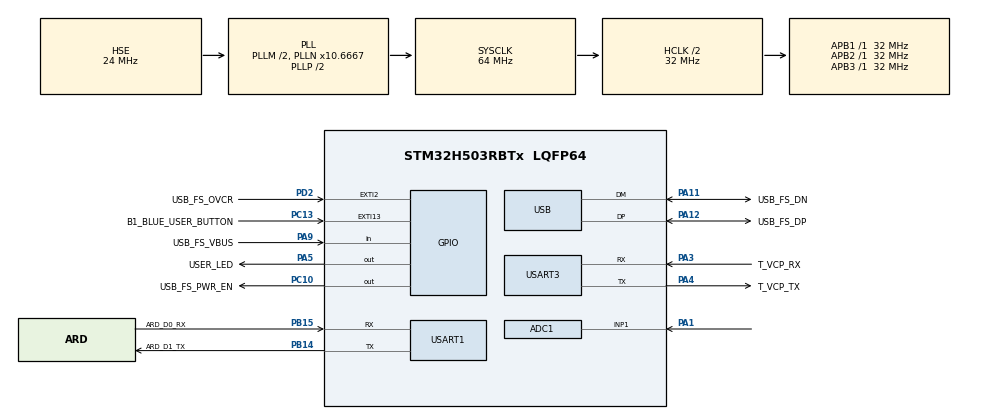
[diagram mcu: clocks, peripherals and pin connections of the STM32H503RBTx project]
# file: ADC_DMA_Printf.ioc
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ADC1.Channel-0\#ChannelRegularConversion=ADC_CHANNEL_1
ADC1.ContinuousConvMode=ENABLE
ADC1.DMAContinuousRequests=ENABLE
ADC1.MonitoredBy-0\#ChannelRegularConversion=__NULL
ADC1.NbrOfConversionFlag=1
ADC1.OffsetNumber-0\#ChannelRegularConversion=ADC_OFFSET_NONE
ADC1.OversamplingMode=ENABLE
ADC1.Rank-0\#ChannelRegularConversion=1
ADC1.Ratio=ADC_OVERSAMPLING_RATIO_256
ADC1.RightBitShift=ADC_RIGHTBITSHIFT_8
ADC1.SamplingTime-0\#ChannelRegularConversion=ADC_SAMPLETIME_2CYCLES_5
ADC1.master=1
BOOTPATH.BootPathName=LEGACY
BOOTPATH.UserSelectedBootPath=LEGACY
GPDMA1.CIRCULARMODE_GPDMACH0=ENABLE
GPDMA1.DATAEXCHANGEDESRCBYTE_GPDMACH0=NONE
GPDMA1.DATAEXCHANGEDESTHALFWORD_GPDMACH0=NONE
GPDMA1.DATAHANDLING_GPDMACH0=NONE
GPDMA1.DESTDATAWIDTH_GPDMACH0=DMA_DEST_DATAWIDTH_HALFWORD
GPDMA1.DESTINC_GPDMACH0=DMA_DINC_INCREMENTED
GPDMA1.IPHANDLE_GPDMACH0-SIMPLEREQUEST_GPDMACH0=__NULL
GPDMA1.REQUEST_GPDMACH0=GPDMA1_REQUEST_ADC1
GPDMA1.SRCDATAWIDTH_GPDMACH0=DMA_SRC_DATAWIDTH_HALFWORD
Mcu.Family=STM32H5
Mcu.Name=STM32H503RBTx
Mcu.Package=LQFP64
NVIC.GPDMA1_Channel0_IRQn=true\:0\:0\:false\:false\:true\:false\:true\:true
NVIC.PriorityGroup=NVIC_PRIORITYGROUP_4
PA1.Signal=ADCx_INP1
PA11.GPIO_Label=USB_FS_DN
PA11.Mode=Device
PA11.Signal=USB_DM
PA12.GPIO_Label=USB_FS_DP
PA12.Mode=Device
PA12.Signal=USB_DP
PA13(JTMS/SWDIO).GPIO_Label=T_SWDIO
PA13(JTMS/SWDIO).Mode=JTAG_4_pins
PA13(JTMS/SWDIO).Signal=DEBUG_JTMS-SWDIO
PA14(JTCK/SWCLK).GPIO_Label=T_SWCLK
PA14(JTCK/SWCLK).Mode=JTAG_4_pins
PA14(JTCK/SWCLK).Signal=DEBUG_JTCK-SWCLK
PA15(JTDI).GPIO_Label=T_JTDI
PA15(JTDI).Mode=JTAG_4_pins
PA15(JTDI).Signal=DEBUG_JTDI
PA3.GPIO_Label=T_VCP_RX
PA3.Mode=Asynchronous
PA3.Signal=USART3_RX
PA4.GPIO_Label=T_VCP_TX
PA4.Mode=Asynchronous
PA4.Signal=USART3_TX
PA5.GPIO_Label=USER_LED
PA5.Signal=GPIO_Output
PA9.GPIO_Label=USB_FS_VBUS
PA9.Signal=GPIO_Input
PB14.GPIO_Label=ARD_D1_TX
PB14.Mode=Asynchronous
PB14.Signal=USART1_TX
PB15.GPIO_Label=ARD_D0_RX
PB15.Mode=Asynchronous
PB15.Signal=USART1_RX
PB3(JTDO/TRACESWO).GPIO_Label=T_SWO
PB3(JTDO/TRACESWO).Mode=JTAG_4_pins
PB3(JTDO/TRACESWO).Signal=DEBUG_JTDO-SWO
PC10.GPIO_Label=USB_FS_PWR_EN
PC10.Signal=GPIO_Output
PC13.GPIO_Label=B1_BLUE_USER_BUTTON
PC13.Signal=GPXTI13
PC14-OSC32_IN(OSC32_IN).Mode=LSE-External-Oscillator
PC14-OSC32_IN(OSC32_IN).Signal=RCC_OSC32_IN
PC15-OSC32_OUT(OSC32_OUT).Mode=LSE-External-Oscillator
PC15-OSC32_OUT(OSC32_OUT).Signal=RCC_OSC32_OUT
PD2.GPIO_Label=USB_FS_OVCR
PD2.Signal=GPXTI2
PH0-OSC_IN(PH0).Mode=HSE-External-Oscillator
PH0-OSC_IN(PH0).Signal=RCC_OSC_IN
PH1-OSC_OUT(PH1).Mode=HSE-External-Oscillator
PH1-OSC_OUT(PH1).Signal=RCC_OSC_OUT
ProjectManager.HeapSize=0x200
ProjectManager.StackSize=0x400
ProjectManager.TargetToolchain=STM32CubeIDE
RCC.ADCFreq_Value=32000244.140625
RCC.AHBCLKDivider=RCC_SYSCLK_DIV2
RCC.AHBFreq_Value=32000244.140625
RCC.APB1Freq_Value=32000244.140625
RCC.APB1TimFreq_Value=32000244.140625
RCC.APB2Freq_Value=32000244.140625
RCC.APB2TimFreq_Value=32000244.140625
RCC.APB3Freq_Value=32000244.140625
RCC.CSI_VALUE=4000000
RCC.CortexFreq_Value=32000244.140625
RCC.EPOD_VALUE=24000000
RCC.HCLKFreq_Value=32000244.140625
RCC.HSE_VALUE=24000000
RCC.HSI48_VALUE=48000000
RCC.HSIDiv=RCC_HSI_DIV1
RCC.HSI_VALUE=64000000
RCC.LSIRC_VALUE=32000
RCC.PLLFRACN=5462
RCC.PLLM=2
RCC.PLLN=10
RCC.PLLSourceVirtual=RCC_PLL1_SOURCE_HSE
RCC.SYSCLKFreq_VALUE=64000488.28125
RCC.SYSCLKSource=RCC_SYSCLKSOURCE_PLLCLK
RCC.USBFreq_Value=48000000
RCC.VCOOutputFreq_Value=128000976.5625
SH.ADCx_INP1.0=ADC1_INP1,IN1-Single-Ended
USART1.VirtualMode=VM_ASYNC
USART3.VirtualMode=VM_ASYNC
USB.VirtualMode=Device_Only
VP_BOOTPATH_VS_BOOTPATH.Mode=BP_Activate
VP_CORTEX_M33_NS_VS_Hclk.Mode=Hclk_Mode
VP_GPDMA1_VS_GPDMACH0.Mode=SIMPLEREQUEST_GPDMACH0
VP_ICACHE_VS_ICACHE.Mode=DefaultMode
VP_MEMORYMAP_VS_MEMORYMAP.Mode=CurAppReg
VP_PWR_VS_DBSignals.Mode=DisableDeadBatterySignals
VP_PWR_VS_LPOM.Mode=PowerOptimisation
VP_PWR_VS_SECSignals.Mode=Security/Privilege
board=NUCLEO-H503RB

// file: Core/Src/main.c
/* USER CODE BEGIN Header */
/**
  ******************************************************************************
  * @file           : main.c
  * @brief          : Main program body
  ******************************************************************************
  * @attention
  *
  * Copyright (c) 2024 STMicroelectronics.
  * All rights reserved.
  *
  * This software is licensed under terms that can be found in the LICENSE file
  * in the root directory of this software component.
  * If no LICENSE file comes with this software, it is provided AS-IS.
  *
  ******************************************************************************
  */
/* USER CODE END Header */
#include "main.h"

/* USER CODE BEGIN Includes */
#include <stdio.h>
/* USER CODE END Includes */

/* USER CODE BEGIN PD */
#define ADC_BUF_LEN 4096
#define VDDA_APPLI                       (3322UL)
/* USER CODE END PD */

ADC_HandleTypeDef hadc1;
DMA_NodeTypeDef Node_GPDMA1_Channel0;
DMA_QListTypeDef List_GPDMA1_Channel0;
DMA_HandleTypeDef handle_GPDMA1_Channel0;

UART_HandleTypeDef huart1;
UART_HandleTypeDef huart3;

PCD_HandleTypeDef hpcd_USB_DRD_FS;

int finished = 0;

/* USER CODE BEGIN PV */
/* Variables for ADC conversion data computation to physical values */
uint16_t uhADCxConvertedData_Voltage_mVolt = 0;  /* Value of voltage calculated from ADC conversion data (unit: mV) */

uint16_t adc_buf[ADC_BUF_LEN];
/* USER CODE END PV */

void SystemClock_Config(void);
static void MX_GPIO_Init(void);
static void MX_GPDMA1_Init(void);
static void MX_USART1_UART_Init(void);
static void MX_ICACHE_Init(void);
static void MX_USB_PCD_Init(void);
static void MX_ADC1_Init(void);
static void MX_USART3_UART_Init(void);
/* USER CODE BEGIN PFP */
#if defined(__ICCARM__)
__ATTRIBUTES size_t __write(int, const unsigned char *, size_t);
#endif /* __ICCARM__ */

#if defined(__ICCARM__)
/* New definition from EWARM V9, compatible with EWARM8 */
int iar_fputc(int ch);
#define PUTCHAR_PROTOTYPE int iar_fputc(int ch)
#elif defined ( __CC_ARM ) || defined(__ARMCC_VERSION)
/* ARM Compiler 5/6*/
#define PUTCHAR_PROTOTYPE int fputc(int ch, FILE *f)
#elif defined(__GNUC__)
#define PUTCHAR_PROTOTYPE int __io_putchar(int ch)
#endif /* __ICCARM__ */
/* USER CODE END PFP */

int main(void)
{

  /* MCU Configuration--------------------------------------------------------*/

  /* Reset of all peripherals, Initializes the Flash interface and the Systick. */
  HAL_Init();

  /* Configure the system clock */
  SystemClock_Config();

  /* Initialize all configured peripherals */
  MX_GPIO_Init();
  MX_GPDMA1_Init();
  MX_USART1_UART_Init();
  MX_ICACHE_Init();
  MX_USB_PCD_Init();
  MX_ADC1_Init();
  MX_USART3_UART_Init();
  /* USER CODE BEGIN 2 */
  printf("\n\r ADC_DMA_Printf example\n\r");

  /* Perform ADC calibration */
  if (HAL_ADCEx_Calibration_Start(&hadc1, ADC_SINGLE_ENDED) != HAL_OK)
  {
    /* Calibration Error */
    Error_Handler();
  }

  HAL_ADC_Start_DMA(&hadc1, (uint32_t*)adc_buf, ADC_BUF_LEN);
  char text [12];
  /* USER CODE END 2 */

  /* Infinite loop */
  while (1)
  {
	  if(finished)
	  {
		  uhADCxConvertedData_Voltage_mVolt = __LL_ADC_CALC_DATA_TO_VOLTAGE(VDDA_APPLI, adc_buf[ADC_BUF_LEN-1], LL_ADC_RESOLUTION_12B);
		  snprintf (text, 10, "%d \n\r", uhADCxConvertedData_Voltage_mVolt);
		  printf (text);
		  finished = 0;
	  }
  }
}

void SystemClock_Config(void)
{
  RCC_OscInitTypeDef RCC_OscInitStruct = {0};
  RCC_ClkInitTypeDef RCC_ClkInitStruct = {0};

  /** Configure the main internal regulator output voltage
  */
  __HAL_PWR_VOLTAGESCALING_CONFIG(PWR_REGULATOR_VOLTAGE_SCALE3);

  while(!__HAL_PWR_GET_FLAG(PWR_FLAG_VOSRDY)) {}

  /** Initializes the RCC Oscillators according to the specified parameters
  * in the RCC_OscInitTypeDef structure.
  */
  RCC_OscInitStruct.OscillatorType = RCC_OSCILLATORTYPE_HSI48|RCC_OSCILLATORTYPE_HSE;
  RCC_OscInitStruct.HSEState = RCC_HSE_ON;
  RCC_OscInitStruct.HSI48State = RCC_HSI48_ON;
  RCC_OscInitStruct.PLL.PLLState = RCC_PLL_ON;
  RCC_OscInitStruct.PLL.PLLSource = RCC_PLL1_SOURCE_HSE;
  RCC_OscInitStruct.PLL.PLLM = 2;
  RCC_OscInitStruct.PLL.PLLN = 10;
  RCC_OscInitStruct.PLL.PLLP = 2;
  RCC_OscInitStruct.PLL.PLLQ = 2;
  RCC_OscInitStruct.PLL.PLLR = 2;
  RCC_OscInitStruct.PLL.PLLRGE = RCC_PLL1_VCIRANGE_3;
  RCC_OscInitStruct.PLL.PLLVCOSEL = RCC_PLL1_VCORANGE_WIDE;
  RCC_OscInitStruct.PLL.PLLFRACN = 5462;
  if (HAL_RCC_OscConfig(&RCC_OscInitStruct) != HAL_OK)
  {
    Error_Handler();
  }

  /** Initializes the CPU, AHB and APB buses clocks
  */
  RCC_ClkInitStruct.ClockType = RCC_CLOCKTYPE_HCLK|RCC_CLOCKTYPE_SYSCLK
                              |RCC_CLOCKTYPE_PCLK1|RCC_CLOCKTYPE_PCLK2
                              |RCC_CLOCKTYPE_PCLK3;
  RCC_ClkInitStruct.SYSCLKSource = RCC_SYSCLKSOURCE_PLLCLK;
  RCC_ClkInitStruct.AHBCLKDivider = RCC_SYSCLK_DIV2;
  RCC_ClkInitStruct.APB1CLKDivider = RCC_HCLK_DIV1;
  RCC_ClkInitStruct.APB2CLKDivider = RCC_HCLK_DIV1;
  RCC_ClkInitStruct.APB3CLKDivider = RCC_HCLK_DIV1;

  if (HAL_RCC_ClockConfig(&RCC_ClkInitStruct, FLASH_LATENCY_3) != HAL_OK)
  {
    Error_Handler();
  }
}

static void MX_ADC1_Init(void)
{

  ADC_ChannelConfTypeDef sConfig = {0};

  /** Common config
  */
  hadc1.Instance = ADC1;
  hadc1.Init.ClockPrescaler = ADC_CLOCK_ASYNC_DIV2;
  hadc1.Init.Resolution = ADC_RESOLUTION_12B;
  hadc1.Init.DataAlign = ADC_DATAALIGN_RIGHT;
  hadc1.Init.ScanConvMode = ADC_SCAN_DISABLE;
  hadc1.Init.EOCSelection = ADC_EOC_SINGLE_CONV;
  hadc1.Init.LowPowerAutoWait = DISABLE;
  hadc1.Init.ContinuousConvMode = ENABLE;
  hadc1.Init.NbrOfConversion = 1;
  hadc1.Init.DiscontinuousConvMode = DISABLE;
  hadc1.Init.ExternalTrigConv = ADC_SOFTWARE_START;
  hadc1.Init.ExternalTrigConvEdge = ADC_EXTERNALTRIGCONVEDGE_NONE;
  hadc1.Init.DMAContinuousRequests = ENABLE;
  hadc1.Init.SamplingMode = ADC_SAMPLING_MODE_NORMAL;
  hadc1.Init.Overrun = ADC_OVR_DATA_PRESERVED;
  hadc1.Init.OversamplingMode = ENABLE;
  hadc1.Init.Oversampling.Ratio = ADC_OVERSAMPLING_RATIO_256;
  hadc1.Init.Oversampling.RightBitShift = ADC_RIGHTBITSHIFT_8;
  hadc1.Init.Oversampling.TriggeredMode = ADC_TRIGGEREDMODE_SINGLE_TRIGGER;
  hadc1.Init.Oversampling.OversamplingStopReset = ADC_REGOVERSAMPLING_CONTINUED_MODE;
  if (HAL_ADC_Init(&hadc1) != HAL_OK)
  {
    Error_Handler();
  }

  /** Configure Regular Channel
  */
  sConfig.Channel = ADC_CHANNEL_1;
  sConfig.Rank = ADC_REGULAR_RANK_1;
  sConfig.SamplingTime = ADC_SAMPLETIME_2CYCLES_5;
  sConfig.SingleDiff = ADC_SINGLE_ENDED;
  sConfig.OffsetNumber = ADC_OFFSET_NONE;
  sConfig.Offset = 0;
  if (HAL_ADC_ConfigChannel(&hadc1, &sConfig) != HAL_OK)
  {
    Error_Handler();
  }

}

static void MX_GPDMA1_Init(void)
{

  /* Peripheral clock enable */
  __HAL_RCC_GPDMA1_CLK_ENABLE();

  /* GPDMA1 interrupt Init */
    HAL_NVIC_SetPriority(GPDMA1_Channel0_IRQn, 0, 0);
    HAL_NVIC_EnableIRQ(GPDMA1_Channel0_IRQn);

}

static void MX_ICACHE_Init(void)
{

  /** Enable instruction cache (default 2-ways set associative cache)
  */
  if (HAL_ICACHE_Enable() != HAL_OK)
  {
    Error_Handler();
  }

}

static void MX_USART1_UART_Init(void)
{

  huart1.Instance = USART1;
  huart1.Init.BaudRate = 115200;
  huart1.Init.WordLength = UART_WORDLENGTH_8B;
  huart1.Init.StopBits = UART_STOPBITS_1;
  huart1.Init.Parity = UART_PARITY_NONE;
  huart1.Init.Mode = UART_MODE_TX_RX;
  huart1.Init.HwFlowCtl = UART_HWCONTROL_NONE;
  huart1.Init.OverSampling = UART_OVERSAMPLING_16;
  huart1.Init.OneBitSampling = UART_ONE_BIT_SAMPLE_DISABLE;
  huart1.Init.ClockPrescaler = UART_PRESCALER_DIV1;
  huart1.AdvancedInit.AdvFeatureInit = UART_ADVFEATURE_NO_INIT;
  if (HAL_UART_Init(&huart1) != HAL_OK)
  {
    Error_Handler();
  }
  if (HAL_UARTEx_SetTxFifoThreshold(&huart1, UART_TXFIFO_THRESHOLD_1_8) != HAL_OK)
  {
    Error_Handler();
  }
  if (HAL_UARTEx_SetRxFifoThreshold(&huart1, UART_RXFIFO_THRESHOLD_1_8) != HAL_OK)
  {
    Error_Handler();
  }
  if (HAL_UARTEx_DisableFifoMode(&huart1) != HAL_OK)
  {
    Error_Handler();
  }

}

static void MX_USART3_UART_Init(void)
{

  huart3.Instance = USART3;
  huart3.Init.BaudRate = 115200;
  huart3.Init.WordLength = UART_WORDLENGTH_8B;
  huart3.Init.StopBits = UART_STOPBITS_1;
  huart3.Init.Parity = UART_PARITY_NONE;
  huart3.Init.Mode = UART_MODE_TX_RX;
  huart3.Init.HwFlowCtl = UART_HWCONTROL_NONE;
  huart3.Init.OverSampling = UART_OVERSAMPLING_16;
  huart3.Init.OneBitSampling = UART_ONE_BIT_SAMPLE_DISABLE;
  huart3.Init.ClockPrescaler = UART_PRESCALER_DIV1;
  huart3.AdvancedInit.AdvFeatureInit = UART_ADVFEATURE_NO_INIT;
  if (HAL_UART_Init(&huart3) != HAL_OK)
  {
    Error_Handler();
  }
  if (HAL_UARTEx_SetTxFifoThreshold(&huart3, UART_TXFIFO_THRESHOLD_1_8) != HAL_OK)
  {
    Error_Handler();
  }
  if (HAL_UARTEx_SetRxFifoThreshold(&huart3, UART_RXFIFO_THRESHOLD_1_8) != HAL_OK)
  {
    Error_Handler();
  }
  if (HAL_UARTEx_DisableFifoMode(&huart3) != HAL_OK)
  {
    Error_Handler();
  }

}

static void MX_USB_PCD_Init(void)
{

  hpcd_USB_DRD_FS.Instance = USB_DRD_FS;
  hpcd_USB_DRD_FS.Init.dev_endpoints = 8;
  hpcd_USB_DRD_FS.Init.speed = USBD_FS_SPEED;
  hpcd_USB_DRD_FS.Init.phy_itface = PCD_PHY_EMBEDDED;
  hpcd_USB_DRD_FS.Init.Sof_enable = DISABLE;
  hpcd_USB_DRD_FS.Init.low_power_enable = DISABLE;
  hpcd_USB_DRD_FS.Init.lpm_enable = DISABLE;
  hpcd_USB_DRD_FS.Init.battery_charging_enable = DISABLE;
  hpcd_USB_DRD_FS.Init.vbus_sensing_enable = DISABLE;
  hpcd_USB_DRD_FS.Init.bulk_doublebuffer_enable = DISABLE;
  hpcd_USB_DRD_FS.Init.iso_singlebuffer_enable = DISABLE;
  if (HAL_PCD_Init(&hpcd_USB_DRD_FS) != HAL_OK)
  {
    Error_Handler();
  }

}

static void MX_GPIO_Init(void)
{
  GPIO_InitTypeDef GPIO_InitStruct = {0};

  /* GPIO Ports Clock Enable */
  __HAL_RCC_GPIOC_CLK_ENABLE();
  __HAL_RCC_GPIOH_CLK_ENABLE();
  __HAL_RCC_GPIOA_CLK_ENABLE();
  __HAL_RCC_GPIOB_CLK_ENABLE();
  __HAL_RCC_GPIOD_CLK_ENABLE();

  /*Configure GPIO pin Output Level */
  HAL_GPIO_WritePin(USER_LED_GPIO_Port, USER_LED_Pin, GPIO_PIN_RESET);

  /*Configure GPIO pin Output Level */
  HAL_GPIO_WritePin(USB_FS_PWR_EN_GPIO_Port, USB_FS_PWR_EN_Pin, GPIO_PIN_RESET);

  /*Configure GPIO pin : B1_BLUE_USER_BUTTON_Pin */
  GPIO_InitStruct.Pin = B1_BLUE_USER_BUTTON_Pin;
  GPIO_InitStruct.Mode = GPIO_MODE_IT_RISING;
  GPIO_InitStruct.Pull = GPIO_NOPULL;
  HAL_GPIO_Init(B1_BLUE_USER_BUTTON_GPIO_Port, &GPIO_InitStruct);

  /*Configure GPIO pin : USER_LED_Pin */
  GPIO_InitStruct.Pin = USER_LED_Pin;
  GPIO_InitStruct.Mode = GPIO_MODE_OUTPUT_PP;
  GPIO_InitStruct.Pull = GPIO_NOPULL;
  GPIO_InitStruct.Speed = GPIO_SPEED_FREQ_LOW;
  HAL_GPIO_Init(USER_LED_GPIO_Port, &GPIO_InitStruct);

  /*Configure GPIO pin : USB_FS_VBUS_Pin */
  GPIO_InitStruct.Pin = USB_FS_VBUS_Pin;
  GPIO_InitStruct.Mode = GPIO_MODE_INPUT;
  GPIO_InitStruct.Pull = GPIO_NOPULL;
  HAL_GPIO_Init(USB_FS_VBUS_GPIO_Port, &GPIO_InitStruct);

  /*Configure GPIO pin : USB_FS_PWR_EN_Pin */
  GPIO_InitStruct.Pin = USB_FS_PWR_EN_Pin;
  GPIO_InitStruct.Mode = GPIO_MODE_OUTPUT_PP;
  GPIO_InitStruct.Pull = GPIO_NOPULL;
  GPIO_InitStruct.Speed = GPIO_SPEED_FREQ_LOW;
  HAL_GPIO_Init(USB_FS_PWR_EN_GPIO_Port, &GPIO_InitStruct);

  /*Configure GPIO pin : USB_FS_OVCR_Pin */
  GPIO_InitStruct.Pin = USB_FS_OVCR_Pin;
  GPIO_InitStruct.Mode = GPIO_MODE_IT_RISING;
  GPIO_InitStruct.Pull = GPIO_NOPULL;
  HAL_GPIO_Init(USB_FS_OVCR_GPIO_Port, &GPIO_InitStruct);

}

/* USER CODE BEGIN 4 */

/**
  * @brief  Retargets the C library printf function to the USART.
  * @param  None
  * @retval None
  */
PUTCHAR_PROTOTYPE
{
  /* Place your implementation of fputc here */
  /* e.g. write a character to the USART3 and Loop until the end of transmission */
  HAL_UART_Transmit(&huart3, (uint8_t *)&ch, 1, 0xFFFF);

  return ch;
}

#if defined(__ICCARM__)
size_t __write(int file, unsigned char const *ptr, size_t len)
{
  size_t idx;
  unsigned char const *pdata = ptr;

  for (idx = 0; idx < len; idx++)
  {
    iar_fputc((int)*pdata);
    pdata++;
  }
  return len;
}
#endif /* __ICCARM__ */

// Called when first half of buffer is filled
void HAL_ADC_ConvHalfCpltCallback(ADC_HandleTypeDef* hadc) {
  HAL_GPIO_WritePin(USER_LED_GPIO_Port, USER_LED_Pin, GPIO_PIN_SET);
}

// Called when buffer is completely filled
void HAL_ADC_ConvCpltCallback(ADC_HandleTypeDef* hadc) {
  HAL_GPIO_WritePin(USER_LED_GPIO_Port, USER_LED_Pin, GPIO_PIN_RESET);
  finished = 1;
}
/* USER CODE END 4 */

void Error_Handler(void)
{
  __disable_irq();
  while (1)
  {
  }
}
